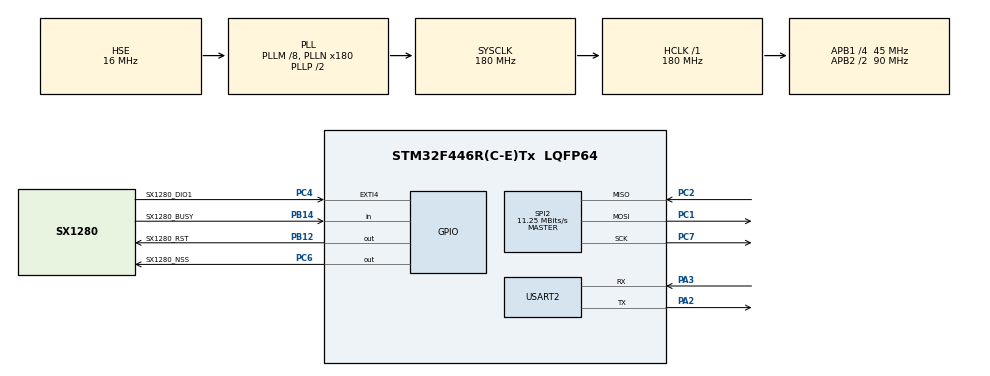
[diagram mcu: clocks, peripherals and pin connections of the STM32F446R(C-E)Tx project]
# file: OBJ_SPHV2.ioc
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Mcu.Family=STM32F4
Mcu.Name=STM32F446R(C-E)Tx
Mcu.Package=LQFP64
NVIC.EXTI4_IRQn=true\:0\:0\:false\:false\:true\:true\:true\:true
NVIC.PriorityGroup=NVIC_PRIORITYGROUP_4
PA13.Mode=Serial_Wire
PA13.Signal=SYS_JTMS-SWDIO
PA14.Mode=Serial_Wire
PA14.Signal=SYS_JTCK-SWCLK
PA2.Mode=Asynchronous
PA2.Signal=USART2_TX
PA3.Mode=Asynchronous
PA3.Signal=USART2_RX
PB12.GPIO_Label=SX1280_RST
PB12.GPIO_Speed=GPIO_SPEED_FREQ_VERY_HIGH
PB12.PinState=GPIO_PIN_SET
PB12.Signal=GPIO_Output
PB14.GPIO_Label=SX1280_BUSY
PB14.Signal=GPIO_Input
PC1.Mode=Full_Duplex_Master
PC1.Signal=SPI2_MOSI
PC2.Mode=Full_Duplex_Master
PC2.Signal=SPI2_MISO
PC4.GPIO_Label=SX1280_DIO1
PC4.Signal=GPXTI4
PC6.GPIO_Label=SX1280_NSS
PC6.GPIO_Speed=GPIO_SPEED_FREQ_HIGH
PC6.PinState=GPIO_PIN_SET
PC6.Signal=GPIO_Output
PC7.Mode=Full_Duplex_Master
PC7.Signal=SPI2_SCK
PH0-OSC_IN.Mode=HSE-External-Oscillator
PH0-OSC_IN.Signal=RCC_OSC_IN
PH1-OSC_OUT.Mode=HSE-External-Oscillator
PH1-OSC_OUT.Signal=RCC_OSC_OUT
ProjectManager.HeapSize=0x200
ProjectManager.StackSize=0x400
ProjectManager.TargetToolchain=STM32CubeIDE
RCC.AHBFreq_Value=180000000
RCC.APB1CLKDivider=RCC_HCLK_DIV4
RCC.APB1Freq_Value=45000000
RCC.APB1TimFreq_Value=90000000
RCC.APB2CLKDivider=RCC_HCLK_DIV2
RCC.APB2Freq_Value=90000000
RCC.APB2TimFreq_Value=180000000
RCC.CortexFreq_Value=180000000
RCC.HCLKFreq_Value=180000000
RCC.HSE_VALUE=16000000
RCC.PLLM=8
RCC.PLLN=180
RCC.PLLSourceVirtual=RCC_PLLSOURCE_HSE
RCC.SYSCLKFreq_VALUE=180000000
RCC.SYSCLKSource=RCC_SYSCLKSOURCE_PLLCLK
RCC.USBFreq_Value=180000000
RCC.VCOOutputFreq_Value=360000000
SPI2.BaudRatePrescaler=SPI_BAUDRATEPRESCALER_4
SPI2.CalculateBaudRate=11.25 MBits/s
SPI2.Direction=SPI_DIRECTION_2LINES
SPI2.Mode=SPI_MODE_MASTER
SPI2.VirtualType=VM_MASTER
TIM1.Period=999
TIM1.Prescaler=179
USART2.VirtualMode=VM_ASYNC
VP_TIM1_VS_ClockSourceINT.Mode=Internal
board=custom

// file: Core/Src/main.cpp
/* USER CODE BEGIN Header */
/**
 ******************************************************************************
 * @file           : main.c
 * @brief          : Main program body
 ******************************************************************************
 * @attention
 *
 * Copyright (c) 2023 STMicroelectronics.
 * All rights reserved.
 *
 * This software is licensed under terms that can be found in the LICENSE file
 * in the root directory of this software component.
 * If no LICENSE file comes with this software, it is provided AS-IS.
 *
 ******************************************************************************
 */
/* USER CODE END Header */
#include "main.h"

/* USER CODE BEGIN Includes */
#include "SX128x_OBJ.h"
#include <stdio.h>
/* USER CODE END Includes */

SPI_HandleTypeDef hspi2;

TIM_HandleTypeDef htim1;

UART_HandleTypeDef huart2;

/* USER CODE BEGIN PV */
SX128x_OBJ sx1280;
int times = 0;
/* USER CODE END PV */

void SystemClock_Config(void);
static void MX_GPIO_Init(void);
static void MX_SPI2_Init(void);
static void MX_USART2_UART_Init(void);
static void MX_TIM1_Init(void);

int main(void)
{
    /* USER CODE BEGIN 1 */
    char uart_buf[100];
    int uart_buf_len;
    /* USER CODE END 1 */

    /* MCU Configuration--------------------------------------------------------*/

    /* Reset of all peripherals, Initializes the Flash interface and the Systick. */
    HAL_Init();

    /* Configure the system clock */
    SystemClock_Config();

    /* Initialize all configured peripherals */
    MX_GPIO_Init();
    MX_SPI2_Init();
    MX_USART2_UART_Init();
    MX_TIM1_Init();
    /* USER CODE BEGIN 2 */

    // for time out
    HAL_TIM_Base_Start(&htim1);

    // test packet
    uint8_t test_packet[8] = {1, 2, 3, 4, 5, 6, 7, 8};
    uint8_t rx;

    // sx1280 initialize
    rx = sx1280.Init();

    if (rx == 0)
    {
        uart_buf_len = sprintf(uart_buf, "SX1280 Initialize success\r\n");
        HAL_UART_Transmit(&huart2, (uint8_t *)uart_buf, uart_buf_len, 100);
    }
    else
    {
        uart_buf_len = sprintf(uart_buf, "SX1280 Initialize fail\r\n");
        HAL_UART_Transmit(&huart2, (uint8_t *)uart_buf, uart_buf_len, 100);
        Error_Handler();
    }

    // sx1280 set transmition
    sx1280.TxSetting();

    // sx1280 dummy packet transmit for testing
    rx = sx1280.PutPacket(test_packet); // 1
    rx = sx1280.PutPacket(test_packet); // 2
    rx = sx1280.PutPacket(test_packet); // 3
    rx = sx1280.PutPacket(test_packet); // 4
    rx = sx1280.PutPacket(test_packet); // 5
    rx = sx1280.PutPacket(test_packet); // 6
    rx = sx1280.PutPacket(test_packet); // 7
    rx = sx1280.PutPacket(test_packet); // 8
    rx = sx1280.PutPacket(test_packet); // 9
    /* USER CODE END 2 */

    /* Infinite loop */
    /* USER CODE BEGIN WHILE */
    uint16_t time_temp;
    uint32_t counter = 0;
    uint32_t counter_ = 0;
    uint32_t temp_counter[2] = {0};

    // initial
    time_temp = HAL_GetTick();
    counter = 0;  // number of packet transmitted successfully
    counter_ = 0; // number of packet try to be tranmitted
    while (1)
    {
        temp_counter[0] = counter;
        while (sx1280.PutPacket((uint8_t *)temp_counter))
        {
            counter_++;
            HAL_Delay(1);
        }
        times++;
        counter++;
        counter_++;
        /* USER CODE END WHILE */

        /* USER CODE BEGIN 3 */

        // detect if a round is complete
        if (counter >= 100)
        {
            // time difference
            time_temp = HAL_GetTick() - time_temp;

            // calculate bit per second
            float bps = counter * FIFO_SIZE * PACKET_SIZE * 1000. / time_temp;

            // print
            uart_buf_len = sprintf(uart_buf, "Bit Rate: %15.5f bps, count: %3lu, total put count:%8lu\r\n", bps, counter, counter_);
            HAL_UART_Transmit(&huart2, (uint8_t *)uart_buf, uart_buf_len, 100);

            // round reset
            counter = 0;
            counter_ = 0;
            time_temp = HAL_GetTick();
        }
    }
    /* USER CODE END 3 */
}

void SystemClock_Config(void)
{
    RCC_OscInitTypeDef RCC_OscInitStruct = {0};
    RCC_ClkInitTypeDef RCC_ClkInitStruct = {0};

    /** Configure the main internal regulator output voltage
     */
    __HAL_RCC_PWR_CLK_ENABLE();
    __HAL_PWR_VOLTAGESCALING_CONFIG(PWR_REGULATOR_VOLTAGE_SCALE1);

    /** Initializes the RCC Oscillators according to the specified parameters
     * in the RCC_OscInitTypeDef structure.
     */
    RCC_OscInitStruct.OscillatorType = RCC_OSCILLATORTYPE_HSE;
    RCC_OscInitStruct.HSEState = RCC_HSE_ON;
    RCC_OscInitStruct.PLL.PLLState = RCC_PLL_ON;
    RCC_OscInitStruct.PLL.PLLSource = RCC_PLLSOURCE_HSE;
    RCC_OscInitStruct.PLL.PLLM = 8;
    RCC_OscInitStruct.PLL.PLLN = 180;
    RCC_OscInitStruct.PLL.PLLP = RCC_PLLP_DIV2;
    RCC_OscInitStruct.PLL.PLLQ = 2;
    RCC_OscInitStruct.PLL.PLLR = 2;
    if (HAL_RCC_OscConfig(&RCC_OscInitStruct) != HAL_OK)
    {
        Error_Handler();
    }

    /** Activate the Over-Drive mode
     */
    if (HAL_PWREx_EnableOverDrive() != HAL_OK)
    {
        Error_Handler();
    }

    /** Initializes the CPU, AHB and APB buses clocks
     */
    RCC_ClkInitStruct.ClockType = RCC_CLOCKTYPE_HCLK | RCC_CLOCKTYPE_SYSCLK | RCC_CLOCKTYPE_PCLK1 | RCC_CLOCKTYPE_PCLK2;
    RCC_ClkInitStruct.SYSCLKSource = RCC_SYSCLKSOURCE_PLLCLK;
    RCC_ClkInitStruct.AHBCLKDivider = RCC_SYSCLK_DIV1;
    RCC_ClkInitStruct.APB1CLKDivider = RCC_HCLK_DIV4;
    RCC_ClkInitStruct.APB2CLKDivider = RCC_HCLK_DIV2;

    if (HAL_RCC_ClockConfig(&RCC_ClkInitStruct, FLASH_LATENCY_5) != HAL_OK)
    {
        Error_Handler();
    }
}

static void MX_SPI2_Init(void)
{

    /* SPI2 parameter configuration*/
    hspi2.Instance = SPI2;
    hspi2.Init.Mode = SPI_MODE_MASTER;
    hspi2.Init.Direction = SPI_DIRECTION_2LINES;
    hspi2.Init.DataSize = SPI_DATASIZE_8BIT;
    hspi2.Init.CLKPolarity = SPI_POLARITY_LOW;
    hspi2.Init.CLKPhase = SPI_PHASE_1EDGE;
    hspi2.Init.NSS = SPI_NSS_SOFT;
    hspi2.Init.BaudRatePrescaler = SPI_BAUDRATEPRESCALER_4;
    hspi2.Init.FirstBit = SPI_FIRSTBIT_MSB;
    hspi2.Init.TIMode = SPI_TIMODE_DISABLE;
    hspi2.Init.CRCCalculation = SPI_CRCCALCULATION_DISABLE;
    hspi2.Init.CRCPolynomial = 10;
    if (HAL_SPI_Init(&hspi2) != HAL_OK)
    {
        Error_Handler();
    }
}

static void MX_TIM1_Init(void)
{

    TIM_ClockConfigTypeDef sClockSourceConfig = {0};
    TIM_MasterConfigTypeDef sMasterConfig = {0};

    htim1.Instance = TIM1;
    htim1.Init.Prescaler = 179;
    htim1.Init.CounterMode = TIM_COUNTERMODE_UP;
    htim1.Init.Period = 999;
    htim1.Init.ClockDivision = TIM_CLOCKDIVISION_DIV1;
    htim1.Init.RepetitionCounter = 0;
    htim1.Init.AutoReloadPreload = TIM_AUTORELOAD_PRELOAD_DISABLE;
    if (HAL_TIM_Base_Init(&htim1) != HAL_OK)
    {
        Error_Handler();
    }
    sClockSourceConfig.ClockSource = TIM_CLOCKSOURCE_INTERNAL;
    if (HAL_TIM_ConfigClockSource(&htim1, &sClockSourceConfig) != HAL_OK)
    {
        Error_Handler();
    }
    sMasterConfig.MasterOutputTrigger = TIM_TRGO_RESET;
    sMasterConfig.MasterSlaveMode = TIM_MASTERSLAVEMODE_DISABLE;
    if (HAL_TIMEx_MasterConfigSynchronization(&htim1, &sMasterConfig) != HAL_OK)
    {
        Error_Handler();
    }
}

static void MX_USART2_UART_Init(void)
{

    huart2.Instance = USART2;
    huart2.Init.BaudRate = 115200;
    huart2.Init.WordLength = UART_WORDLENGTH_8B;
    huart2.Init.StopBits = UART_STOPBITS_1;
    huart2.Init.Parity = UART_PARITY_NONE;
    huart2.Init.Mode = UART_MODE_TX_RX;
    huart2.Init.HwFlowCtl = UART_HWCONTROL_NONE;
    huart2.Init.OverSampling = UART_OVERSAMPLING_16;
    if (HAL_UART_Init(&huart2) != HAL_OK)
    {
        Error_Handler();
    }
}

static void MX_GPIO_Init(void)
{
    GPIO_InitTypeDef GPIO_InitStruct = {0};

    /* GPIO Ports Clock Enable */
    __HAL_RCC_GPIOH_CLK_ENABLE();
    __HAL_RCC_GPIOC_CLK_ENABLE();
    __HAL_RCC_GPIOA_CLK_ENABLE();
    __HAL_RCC_GPIOB_CLK_ENABLE();

    /*Configure GPIO pin Output Level */
    HAL_GPIO_WritePin(SX1280_RST_GPIO_Port, SX1280_RST_Pin, GPIO_PIN_SET);

    /*Configure GPIO pin Output Level */
    HAL_GPIO_WritePin(SX1280_NSS_GPIO_Port, SX1280_NSS_Pin, GPIO_PIN_SET);

    /*Configure GPIO pin : SX1280_DIO1_Pin */
    GPIO_InitStruct.Pin = SX1280_DIO1_Pin;
    GPIO_InitStruct.Mode = GPIO_MODE_IT_RISING;
    GPIO_InitStruct.Pull = GPIO_NOPULL;
    HAL_GPIO_Init(SX1280_DIO1_GPIO_Port, &GPIO_InitStruct);

    /*Configure GPIO pin : SX1280_RST_Pin */
    GPIO_InitStruct.Pin = SX1280_RST_Pin;
    GPIO_InitStruct.Mode = GPIO_MODE_OUTPUT_PP;
    GPIO_InitStruct.Pull = GPIO_NOPULL;
    GPIO_InitStruct.Speed = GPIO_SPEED_FREQ_VERY_HIGH;
    HAL_GPIO_Init(SX1280_RST_GPIO_Port, &GPIO_InitStruct);

    /*Configure GPIO pin : SX1280_BUSY_Pin */
    GPIO_InitStruct.Pin = SX1280_BUSY_Pin;
    GPIO_InitStruct.Mode = GPIO_MODE_INPUT;
    GPIO_InitStruct.Pull = GPIO_NOPULL;
    HAL_GPIO_Init(SX1280_BUSY_GPIO_Port, &GPIO_InitStruct);

    /*Configure GPIO pin : SX1280_NSS_Pin */
    GPIO_InitStruct.Pin = SX1280_NSS_Pin;
    GPIO_InitStruct.Mode = GPIO_MODE_OUTPUT_PP;
    GPIO_InitStruct.Pull = GPIO_NOPULL;
    GPIO_InitStruct.Speed = GPIO_SPEED_FREQ_HIGH;
    HAL_GPIO_Init(SX1280_NSS_GPIO_Port, &GPIO_InitStruct);

    /* EXTI interrupt init*/
    HAL_NVIC_SetPriority(EXTI4_IRQn, 0, 0);
    HAL_NVIC_EnableIRQ(EXTI4_IRQn);

}

void Error_Handler(void)
{
    __disable_irq();
    while (1)
    {
    }
}
